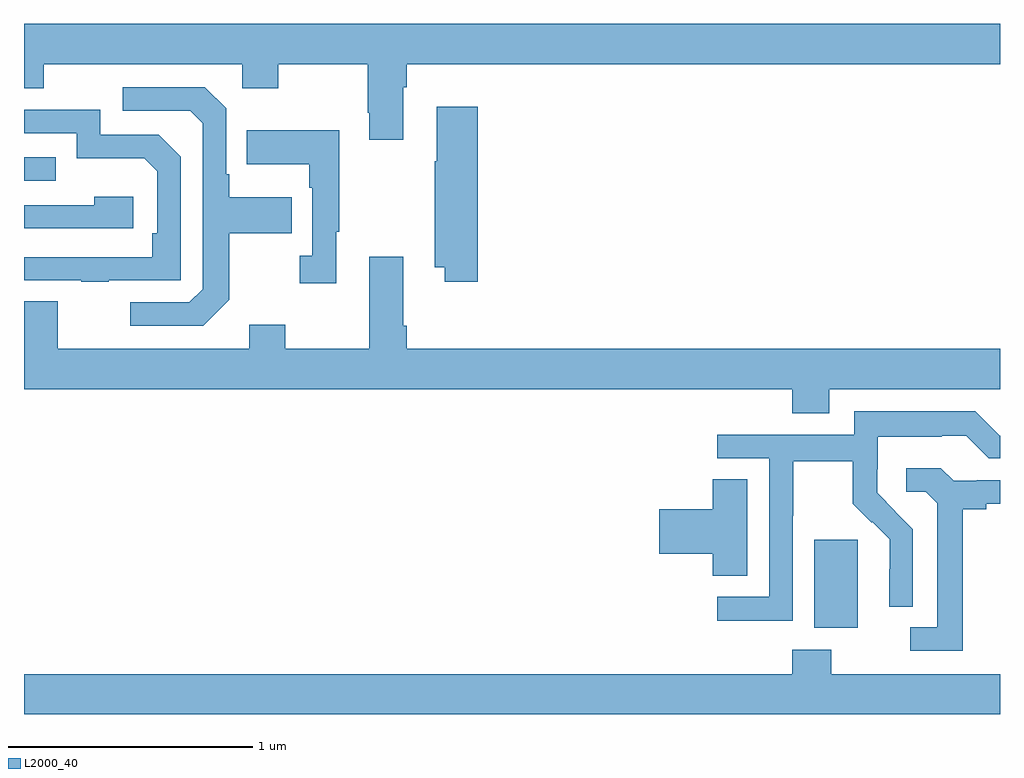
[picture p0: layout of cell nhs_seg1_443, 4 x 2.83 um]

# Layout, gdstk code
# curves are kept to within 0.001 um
import gdstk
lib = gdstk.Library(unit=1e-6, precision=1e-09)
def R(c, l, rs):  # rectangles x0, y0, x1, y1
    for r in rs: c.add(gdstk.rectangle(r[:2], r[2:], *l))
def P(c, l, *ps):  # polygons
    for p in ps: c.add(gdstk.Polygon(p, *l))
L2000_40 = (2000, 40)

nhs_seg1_443 = lib.new_cell('nhs_seg1_443')
R(nhs_seg1_443, L2000_40, [(138.239,553.418,138.418,553.779), (135,555.249,135.131,555.345)])
P(nhs_seg1_443, L2000_40, [(136.555,555.632),(136.568,555.632),(136.568,555.728),(139,555.728),(139,555.892),(135,555.892),(135,555.629),(135.081,555.629),(135.081,555.728),(135.894,555.728),(135.894,555.629),(136.041,555.629),(136.041,555.728),(136.408,555.728),(136.408,555.529),(136.415,555.529),(136.415,555.417),(136.555,555.417)],
  [(135.841,554.761),(135.841,555.034),(136.097,555.034),(136.097,555.181),(135.841,555.181),(135.841,555.277),(135.828,555.277),(135.828,555.546),(135.741,555.633),(135.405,555.633),(135.405,555.537),(135.681,555.537),(135.732,555.486),(135.732,554.805),(135.678,554.751),(135.435,554.751),(135.435,554.655),(135.735,554.655)],
  [(136.859,555.553),(136.691,555.553),(136.691,555.329),(136.684,555.329),(136.684,554.894),(136.724,554.894),(136.724,554.835),(136.859,554.835)],
  [(135.347,554.841),(135.642,554.841),(135.642,555.348),(135.552,555.438),(135.312,555.438),(135.312,555.54),(135,555.54),(135,555.444),(135.216,555.444),(135.216,555.341),(135.493,555.341),(135.546,555.288),(135.546,555.034),(135.526,555.034),(135.526,554.937),(135,554.937),(135,554.841),(135.235,554.841),(135.235,554.836),(135.347,554.836)],
  [(136.279,555.041),(136.291,555.041),(136.291,555.457),(135.913,555.457),(135.913,555.317),(136.17,555.317),(136.17,555.221),(136.182,555.221),(136.182,554.942),(136.131,554.942),(136.131,554.829),(136.279,554.829)],
  [(135.448,555.184),(135.287,555.184),(135.287,555.15),(135,555.15),(135,555.054),(135.448,555.054)],
  [(135,554.755),(135,554.396),(138.149,554.396),(138.149,554.297),(138.301,554.297),(138.301,554.396),(139,554.396),(139,554.56),(136.568,554.56),(136.568,554.656),(136.555,554.656),(136.555,554.938),(136.415,554.938),(136.415,554.56),(136.071,554.56),(136.071,554.659),(135.923,554.659),(135.923,554.56),(135.139,554.56),(135.139,554.755)],
  [(138.15,553.876),(138.153,553.876),(138.153,554.1),(138.397,554.1),(138.397,553.925),(138.474,553.848),(138.477,553.851),(138.548,553.781),(138.548,553.658),(138.546,553.658),(138.546,553.504),(138.642,553.504),(138.642,553.822),(138.496,553.97),(138.496,554.067),(138.498,554.067),(138.498,554.201),(138.761,554.201),(138.761,554.205),(138.861,554.205),(138.954,554.112),(139,554.112),(139,554.205),(138.899,554.305),(138.402,554.305),(138.402,554.208),(137.841,554.208),(137.841,554.112),(138.054,554.112),(138.054,553.545),(137.841,553.545),(137.841,553.447),(138.15,553.447)],
  [(138.847,553.904),(138.943,553.904),(138.943,553.926),(139,553.926),(139,554.022),(138.904,554.022),(138.904,554.019),(138.81,554.019),(138.758,554.071),(138.615,554.071),(138.615,553.974),(138.696,553.974),(138.743,553.927),(138.743,553.419),(138.633,553.419),(138.633,553.323),(138.847,553.323)],
  [(137.965,554.027),(137.822,554.027),(137.822,553.904),(137.604,553.904),(137.604,553.721),(137.822,553.721),(137.822,553.63),(137.965,553.63)],
  [(139,553.228),(138.309,553.228),(138.309,553.327),(138.149,553.327),(138.149,553.228),(135,553.228),(135,553.064),(139,553.064)])

lib.write_gds('nhs_seg1_443.gds')
